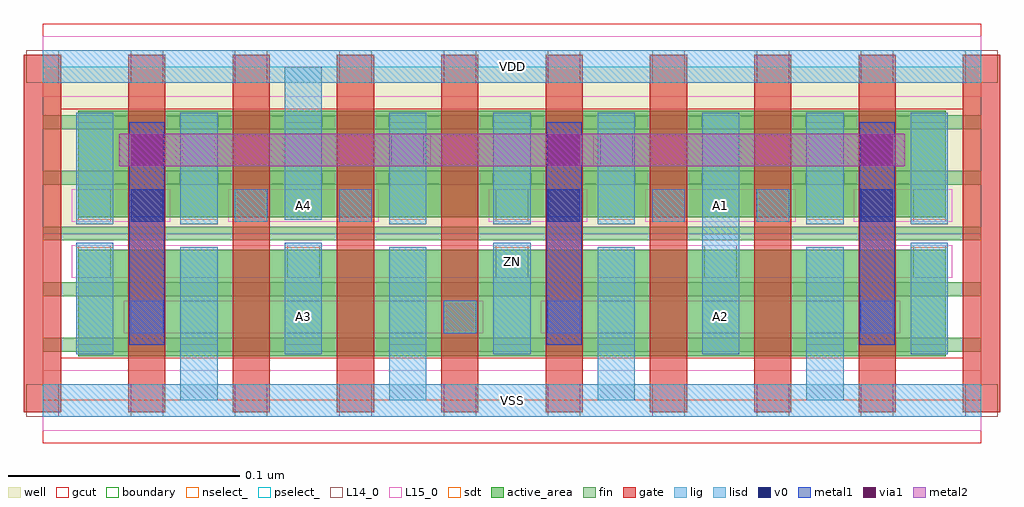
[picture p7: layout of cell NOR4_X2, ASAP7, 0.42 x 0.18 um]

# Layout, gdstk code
import gdstk
lib = gdstk.Library(unit=1e-6, precision=2.5e-10)
def R(c, l, rs):  # rectangles x0, y0, x1, y1
    for r in rs: c.add(gdstk.rectangle(r[:2], r[2:], *l))
def A(c, l, x, y, w, h, nx, ny, dx, dy):  # array of equal rectangles
    R(c, l, [(x+i*dx, y+j*dy, x+i*dx+w, y+j*dy+h) for i in range(nx) for j in range(ny)])
well = (1, 0)
fin = (2, 0)
gate = (7, 0)
gcut = (10, 0)
active_area = (11, 0)
nselect_ = (12, 0)
pselect_ = (13, 0)
L14_0 = (14, 0)
L15_0 = (15, 0)
lig = (16, 0)
lisd = (17, 0)
v0 = (18, 0)
metal1 = (19, 0)
metal2 = (20, 0)
via1 = (21, 0)
sdt = (88, 0)
boundary = (100, 0)

nor4_x2 = lib.new_cell('NOR4_X2')
R(nor4_x2, well, [(0,0.072,0.405,0.144)])
A(nor4_x2, fin, 0, 0.021, 0.405, 0.006, 1, 5, 0, 0.024)
A(nor4_x2, gate, -0.008, -0.005, 0.016, 0.154, 10, 1, 0.045, 0)
R(nor4_x2, gcut, [(0,-0.0185,0.405,0.0185), (-0.008,-0.005,0.008,0.149), (0.397,-0.005,0.413,0.149), (0,0.1255,0.405,0.1625)])
A(nor4_x2, active_area, 0.0155, 0.019, 0.059, 0.046, 8, 2, 0.045, 0.06)
R(nor4_x2, nselect_, [(0,0,0.405,0.072)])
R(nor4_x2, pselect_, [(0,0.072,0.405,0.144)])
A(nor4_x2, L14_0, -0.007, -0.007, 0.014, 0.014, 10, 2, 0.045, 0.144)
A(nor4_x2, L14_0, 0.0155, 0.053, 0.014, 0.014, 5, 1, 0.09, 0)
A(nor4_x2, L14_0, 0.128, 0.077, 0.014, 0.014, 3, 1, 0.0675, 0)
A(nor4_x2, L14_0, 0.0605, 0.101, 0.014, 0.014, 4, 1, 0.09, 0)
R(nor4_x2, L14_0, [(0.038,0.029,0.052,0.043), (0.173,0.029,0.187,0.043), (0.218,0.029,0.232,0.043), (0.353,0.029,0.367,0.043), (0.0155,0.077,0.0295,0.091), (0.083,0.077,0.097,0.091), (0.308,0.077,0.322,0.091), (0.3755,0.077,0.3895,0.091)])
R(nor4_x2, L15_0, [(0,-0.013,0.405,0.013), (0.035,0.029,0.19,0.043), (0.215,0.029,0.37,0.043), (0.0125,0.053,0.3925,0.067), (0.0125,0.077,0.055,0.091), (0.08,0.077,0.145,0.091), (0.1925,0.077,0.235,0.091), (0.26,0.077,0.325,0.091), (0.35,0.077,0.3925,0.091), (0.0575,0.101,0.1675,0.115), (0.2375,0.101,0.3475,0.115), (0,0.131,0.405,0.157)])
R(nor4_x2, lig, [(0,-0.007,0.405,0.007), (0.038,0.029,0.052,0.043), (0.173,0.029,0.187,0.043), (0.218,0.029,0.232,0.043), (0.353,0.029,0.367,0.043), (0.083,0.077,0.097,0.091), (0.128,0.077,0.142,0.091), (0.263,0.077,0.277,0.091), (0.308,0.077,0.322,0.091), (0,0.137,0.405,0.151)])
R(nor4_x2, lisd, [(0.0595,0,0.0755,0.066), (0.0595,0,0.0755,0.066), (0.1495,0,0.1655,0.066), (0.1495,0,0.1655,0.066), (0.2395,0,0.2555,0.066), (0.2395,0,0.2555,0.066), (0.3295,0,0.3455,0.066), (0.3295,0,0.3455,0.066), (0.0145,0.02,0.0305,0.068), (0.1045,0.02,0.1205,0.068), (0.1045,0.02,0.1205,0.068), (0.1945,0.02,0.2105,0.068), (0.1945,0.02,0.2105,0.068), (0.2845,0.02,0.3005,0.124), (0.2845,0.02,0.3005,0.124), (0.3745,0.02,0.3905,0.068), (0.0145,0.076,0.0305,0.124), (0.0595,0.076,0.0755,0.124), (0.0595,0.076,0.0755,0.124), (0.1495,0.076,0.1655,0.124), (0.1495,0.076,0.1655,0.124), (0.1945,0.076,0.2105,0.124), (0.1945,0.076,0.2105,0.124), (0.2395,0.076,0.2555,0.124), (0.2395,0.076,0.2555,0.124), (0.3295,0.076,0.3455,0.124), (0.3295,0.076,0.3455,0.124), (0.3745,0.076,0.3905,0.124), (0.1045,0.078,0.1205,0.144), (0.1045,0.078,0.1205,0.144)])
R(nor4_x2, v0, [(0.038,0.077,0.052,0.091), (0.218,0.077,0.232,0.091), (0.353,0.077,0.367,0.091)])
R(nor4_x2, metal1, [(0.0375,0.024,0.0525,0.12), (0.2175,0.024,0.2325,0.12), (0.3525,0.024,0.3675,0.12)])
R(nor4_x2, metal2, [(0.033,0.101,0.372,0.115)])
R(nor4_x2, via1, [(0.038,0.101,0.052,0.115), (0.218,0.101,0.232,0.115), (0.353,0.101,0.367,0.115)])
R(nor4_x2, sdt, [(0.2845,0.02,0.3005,0.124), (0.2845,0.02,0.3005,0.124), (0.0145,0.024,0.0305,0.066), (0.0595,0.024,0.0755,0.066), (0.0595,0.024,0.0755,0.066), (0.1045,0.024,0.1205,0.066), (0.1045,0.024,0.1205,0.066), (0.1495,0.024,0.1655,0.066), (0.1495,0.024,0.1655,0.066), (0.1945,0.024,0.2105,0.066), (0.1945,0.024,0.2105,0.066), (0.2395,0.024,0.2555,0.066), (0.2395,0.024,0.2555,0.066), (0.3295,0.024,0.3455,0.066), (0.3295,0.024,0.3455,0.066), (0.3745,0.024,0.3905,0.066), (0.0145,0.078,0.0305,0.12), (0.0595,0.078,0.0755,0.12), (0.0595,0.078,0.0755,0.12), (0.1045,0.078,0.1205,0.12), (0.1045,0.078,0.1205,0.12), (0.1495,0.078,0.1655,0.12), (0.1495,0.078,0.1655,0.12), (0.1945,0.078,0.2105,0.12), (0.1945,0.078,0.2105,0.12), (0.2395,0.078,0.2555,0.12), (0.2395,0.078,0.2555,0.12), (0.3295,0.078,0.3455,0.12), (0.3295,0.078,0.3455,0.12), (0.3745,0.078,0.3905,0.12)])
R(nor4_x2, boundary, [(0,0,0.405,0.144)])
nor4_x2.add(gdstk.Label('VDD', (0.2025,0.144), layer=1, texttype=251))
nor4_x2.add(gdstk.Label('VSS', (0.2025,0), layer=3, texttype=251))
nor4_x2.add(gdstk.Label('ZN', (0.2025,0.06), layer=15, texttype=251))
nor4_x2.add(gdstk.Label('A4', (0.1125,0.084), layer=15, texttype=251))
nor4_x2.add(gdstk.Label('A3', (0.1125,0.036), layer=15, texttype=251))
nor4_x2.add(gdstk.Label('A1', (0.2925,0.084), layer=15, texttype=251))
nor4_x2.add(gdstk.Label('A2', (0.2925,0.036), layer=15, texttype=251))
nor4_x2.add(gdstk.Label('VSS', (0.2025,0), layer=15, texttype=251))
nor4_x2.add(gdstk.Label('VDD', (0.2025,0.144), layer=15, texttype=251))

lib.write_gds('NOR4_X2.gds')
